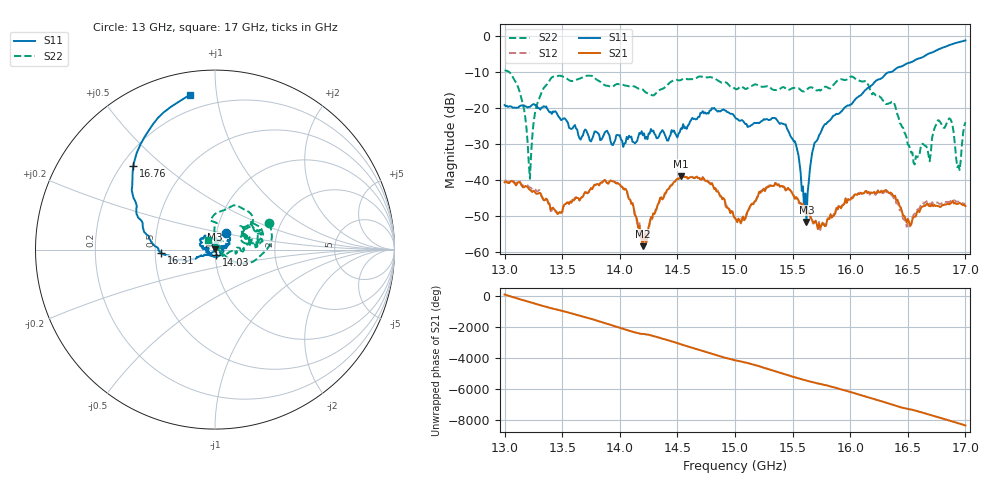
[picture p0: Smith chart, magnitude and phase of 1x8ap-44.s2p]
!Keysight Technologies,P9374A,MY57211807,A.19.30.04
!Date: Friday, May 08, 2026 15:45:15
!Correction: S11(C  2-Port  )
!S21(C  2-Port  )
!S12(C  2-Port  )
!S22(C  2-Port  )
!S2P File: Measurements: S11, S21, S12, S22:
# Hz S  dB  R 50
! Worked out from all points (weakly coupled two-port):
!   401 points, 13 GHz to 17 GHz, reference 50 ohm
!   highest |S21| = -38.92 dB at 14.53 GHz (marker M1); lowest = -58.4 dB at 14.2 GHz (marker M2)
!   lowest |S11| = -51.6 dB at 15.62 GHz (marker M3), VSWR 1.01, Z = 49.7 + j0.0712 ohm
!   |S11| at or under -10 dB: start of sweep to 16.35 GHz
!   |S22| runs from -39.6 to -9.5 dB; largest |S21 - S12| = 0.0008
!   S11 on the Smith chart (normalised r, x): 13 GHz: 1.11, +0.21; 14.03 GHz: 1.01, -0.06; 16.31 GHz: 0.54, -0.02; 16.76 GHz: 0.25, +0.40; 17 GHz: 0.12, +0.84
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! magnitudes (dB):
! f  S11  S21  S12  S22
! 13 GHz  -19.1  -40.6  -40.2  -9.5
! 13.13 GHz  -19.4  -40.5  -40.3  -15.4
! 13.22 GHz  -19.7  -42.7  -42.1  -39.6
! 13.35 GHz  -19.6  -45.6  -45.6  -14.0
! 13.67 GHz  -28.0  -44.7  -44.9  -11.5
! 14.03 GHz  -30.8  -42.3  -42.5  -13.5
! 14.2 GHz  -27.5  -58.4  -57.4  -14.8
! 14.34 GHz  -27.8  -46.3  -46.3  -15.1
! 14.53 GHz  -25.6  -38.9  -39.0  -12.2
! 15 GHz  -22.5  -50.5  -50.6  -14.6
! 15.43 GHz  -24.5  -42.1  -42.0  -14.3
! 15.62 GHz  -51.6  -49.4  -49.4  -14.9
! 15.67 GHz  -32.4  -51.2  -51.5  -14.3
! 16.02 GHz  -18.6  -45.0  -44.7  -11.3
! 16.31 GHz  -10.5  -42.7  -43.2  -18.9
! 16.34 GHz  -10.0  -43.7  -43.8  -18.6
! 16.5 GHz  -7.5  -50.8  -51.8  -30.1
! 16.57 GHz  -6.5  -50.1  -49.3  -33.4
! 16.76 GHz  -3.7  -47.2  -46.2  -23.4
! 16.87 GHz  -2.4  -46.5  -45.8  -23.0
! 16.94 GHz  -1.7  -46.5  -46.0  -36.0
! 17 GHz  -1.2  -47.2  -46.9  -23.9
